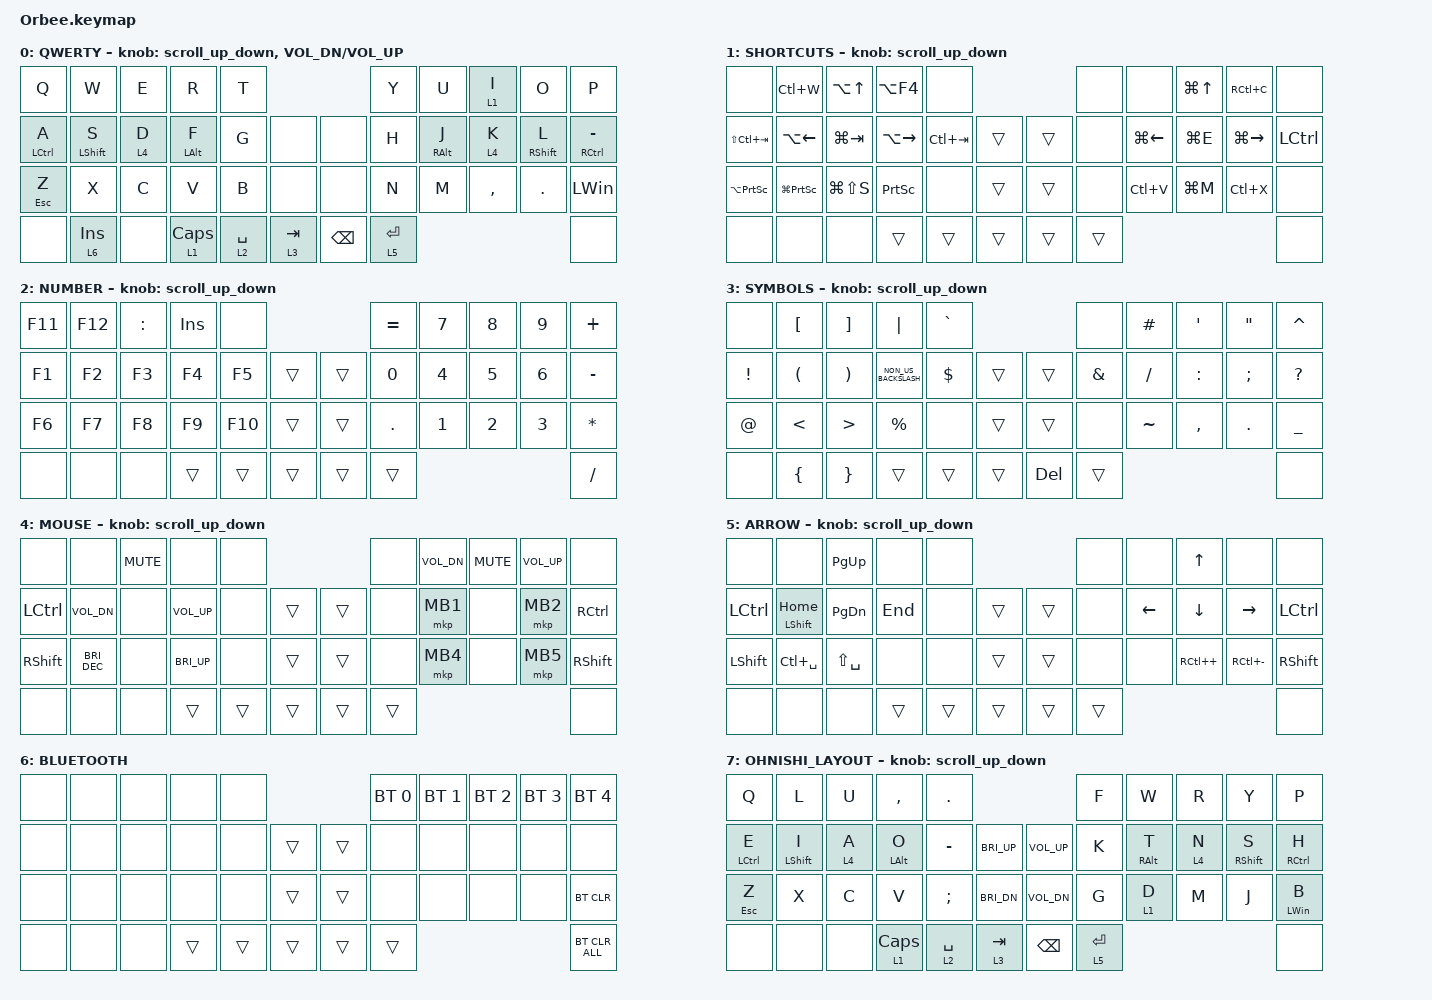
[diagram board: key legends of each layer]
#include <behaviors.dtsi>
#include <dt-bindings/zmk/bt.h>
#include <dt-bindings/zmk/keys.h>
#include <dt-bindings/zmk/pointing.h>

#define ZMK_POINTING_DEFAULT_SCRL_VAL 100
#define MOUSE 6

&mt {
    flavor = "balanced";
    quick-tap-ms = <0>;
};

/ {
    combos {
        compatible = "zmk,combos";

        JP {
            bindings = <&kp LANG1>;
            key-positions = <20 19>;
        };

        ENG {
            bindings = <&kp LANG2>;
            key-positions = <12 11>;
        };

        OHNISHI {
            bindings = <&tog 7>;
            key-positions = <31 32>;
        };
    };

    macros {
        to_layer_0: to_layer_0 {
            compatible = "zmk,behavior-macro-one-param";
            #binding-cells = <1>;
            bindings = <&to 0 &macro_param_1to1 &kp MACRO_PLACEHOLDER>;
            label = "TO_LAYER_0";
        };
    };

    behaviors {
        touch_behavior_1: touch1 {
            compatible = "zmk,behavior-momentary";
            label = "TouchKey1";
            bindings = <&kp A>;
        };

        touch_behavior_2: touch2 {
            compatible = "zmk,behavior-momentary";
            label = "TouchKey2";
            bindings = <&kp B>;
        };

        touch_behavior_3: touch3 {
            compatible = "zmk,behavior-momentary";
            label = "TouchKey3";
            bindings = <&mo 1>;
        };

        lt_to_layer_0: lt_to_layer_0 {
            compatible = "zmk,behavior-hold-tap";
            label = "LAYER_TAP_TO_0";
            bindings = <&mo>, <&to_layer_0>;

            #binding-cells = <2>;
            tapping-term-ms = <200>;
        };

        scroll_up_down: behavior_sensor_rotate_mouse_wheel_up_down {
            compatible = "zmk,behavior-sensor-rotate";
            #sensor-binding-cells = <0>;
            bindings = <&msc SCRL_UP>, <&msc SCRL_DOWN>;

            tap-ms = <20>;
        };
    };

    keymap {
        compatible = "zmk,keymap";

        QWERTY {
            bindings = <
&kp Q               &kp W             &kp E    &kp R           &kp T                                    &kp Y        &kp U            &lt 1 I    &kp O         &kp P
&mt LEFT_CONTROL A  &mt LEFT_SHIFT S  &lt 4 D  &mt LEFT_ALT F  &kp G        &none        &none          &kp H        &mt RIGHT_ALT J  &lt 4 K    &mt RSHIFT L  &mt RIGHT_CONTROL MINUS
&mt ESCAPE Z        &kp X             &kp C    &kp V           &kp B        &none        &none          &kp N        &kp M            &kp COMMA  &kp DOT       &kp LEFT_WIN
&none               &lt 6 INS         &none    &lt 1 CAPSLOCK  &lt 2 SPACE  &lt 3 TAB    &kp BACKSPACE  &lt 5 ENTER                                            &none
            >;

            sensor-bindings =
                <&scroll_up_down>,
                <&inc_dec_kp C_VOL_DN C_VOL_UP>;
        };

        SHORTCUTS {
            bindings = <
&none                &kp LC(W)            &kp LA(UP_ARROW)  &kp LA(F4)       &none                          &none   &none               &kp LG(UP_ARROW)  &kp RC(C)      &none
&kp LS(LC(TAB))      &kp LA(LEFT)         &kp LG(TAB)       &kp LA(RIGHT)    &kp LC(TAB)  &trans    &trans  &none   &kp LG(LEFT_ARROW)  &kp LG(E)         &kp LG(RIGHT)  &kp LEFT_CONTROL
&kp LA(PRINTSCREEN)  &kp LG(PRINTSCREEN)  &kp LG(LS(S))     &kp PRINTSCREEN  &none        &trans    &trans  &none   &kp LC(V)           &kp LG(M)         &kp LC(X)      &none
&none                &none                &none             &trans           &trans       &trans    &trans  &trans                                                       &none
            >;

            sensor-bindings = <&scroll_up_down>;
        };

        NUMBER {
            bindings = <
&kp F11  &kp F12  &kp COLON  &kp INSERT  &none                      &kp EQUAL   &kp N7        &kp N8        &kp N9        &kp PLUS
&kp F1   &kp F2   &kp F3     &kp F4      &kp F5   &trans    &trans  &kp N0      &kp NUMBER_4  &kp N5        &kp NUMBER_6  &kp MINUS
&kp F6   &kp F7   &kp F8     &kp F9      &kp F10  &trans    &trans  &kp PERIOD  &kp NUMBER_1  &kp NUMBER_2  &kp NUMBER_3  &kp ASTERISK
&none    &none    &none      &trans      &trans   &trans    &trans  &trans                                                &kp SLASH
            >;

            sensor-bindings = <&scroll_up_down>;
        };

        SYMBOLS {
            bindings = <
&none            &kp LEFT_BRACKET      &kp RIGHT_BRACKET      &kp PIPE              &kp GRAVE                         &none          &kp HASH   &kp SQT    &kp DOUBLE_QUOTES  &kp CARET
&kp EXCLAMATION  &kp LEFT_PARENTHESIS  &kp RIGHT_PARENTHESIS  &kp NON_US_BACKSLASH  &kp DOLLAR  &trans    &trans      &kp AMPERSAND  &kp SLASH  &kp COLON  &kp SEMICOLON      &kp QUESTION
&kp AT_SIGN      &kp LESS_THAN         &kp GREATER_THAN       &kp PERCENT           &none       &trans    &trans      &none          &kp TILDE  &kp COMMA  &kp PERIOD         &kp UNDERSCORE
&none            &kp LEFT_BRACE        &kp RIGHT_BRACE        &trans                &trans      &trans    &kp DELETE  &trans                                                  &none
            >;

            sensor-bindings = <&scroll_up_down>;
        };

        MOUSE {
            bindings = <
&none             &none          &kp C_MUTE  &none         &none                     &none   &kp C_VOL_DN  &kp C_MUTE  &kp C_VOL_UP  &none
&kp LEFT_CONTROL  &kp C_VOL_DN   &none       &kp C_VOL_UP  &none   &trans    &trans  &none   &mkp MB1      &none       &mkp MB2      &kp RIGHT_CONTROL
&kp RIGHT_SHIFT   &kp C_BRI_DEC  &none       &kp C_BRI_UP  &none   &trans    &trans  &none   &mkp MB4      &none       &mkp MB5      &kp RIGHT_SHIFT
&none             &none          &none       &trans        &trans  &trans    &trans  &trans                                          &none
            >;

            sensor-bindings = <&scroll_up_down>;
        };

        ARROW {
            bindings = <
&none             &none                &kp PAGE_UP    &none    &none                     &none   &none           &kp UP_ARROW    &none          &none
&kp LEFT_CONTROL  &mt LEFT_SHIFT HOME  &kp PAGE_DOWN  &kp END  &none   &trans    &trans  &none   &kp LEFT_ARROW  &kp DOWN_ARROW  &kp RIGHT      &kp LEFT_CONTROL
&kp LEFT_SHIFT    &kp LC(SPACE)        &kp LS(SPACE)  &none    &none   &trans    &trans  &none   &none           &kp RC(PLUS)    &kp RC(MINUS)  &kp RIGHT_SHIFT
&none             &none                &none          &trans   &trans  &trans    &trans  &trans                                                 &none
            >;

            sensor-bindings = <&scroll_up_down>;
        };

        BLUETOOTH {
            bindings = <
&none  &none  &none  &none   &none                     &bt BT_SEL 0  &bt BT_SEL 1  &bt BT_SEL 2  &bt BT_SEL 3  &bt BT_SEL 4
&none  &none  &none  &none   &none   &trans    &trans  &none         &none         &none         &none         &none
&none  &none  &none  &none   &none   &trans    &trans  &none         &none         &none         &none         &bt BT_CLR
&none  &none  &none  &trans  &trans  &trans    &trans  &trans                                                  &bt BT_CLR_ALL
            >;
        };

        OHNISHI_LAYOUT {
            bindings = <
&kp Q               &kp L             &kp U    &kp COMMA       &kp PERIOD                                    &kp F        &kp W            &kp R    &kp Y              &kp P
&mt LEFT_CONTROL E  &mt LEFT_SHIFT I  &lt 4 A  &mt LEFT_ALT O  &kp MINUS      &kp C_BRI_UP    &kp C_VOL_UP   &kp K        &mt RIGHT_ALT T  &lt 4 N  &mt RIGHT_SHIFT S  &mt RIGHT_CONTROL H
&mt ESCAPE Z        &kp X             &kp C    &kp V           &kp SEMICOLON  &kp C_BRI_DN    &kp C_VOL_DN   &kp G        &lt 1 D          &kp M    &kp J              &mt LEFT_WIN B
&none               &none             &none    &lt 1 CAPSLOCK  &lt 2 SPACE    &lt 3 TAB       &kp BACKSPACE  &lt 5 ENTER                                               &none
            >;

            sensor-bindings = <&scroll_up_down>;
        };
    };
};
